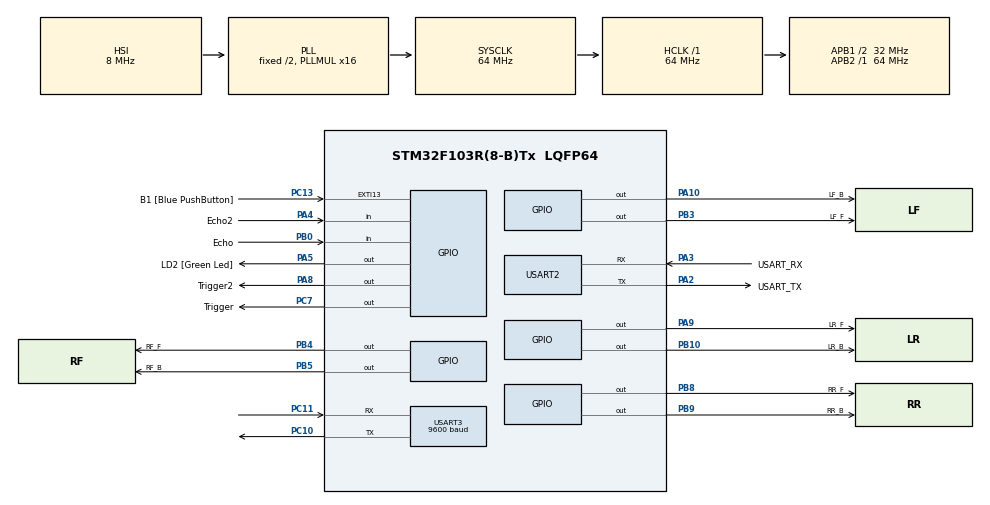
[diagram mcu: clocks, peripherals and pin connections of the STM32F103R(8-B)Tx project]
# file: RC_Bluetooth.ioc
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Mcu.Family=STM32F1
Mcu.Name=STM32F103R(8-B)Tx
Mcu.Package=LQFP64
NVIC.EXTI15_10_IRQn=true\:0\:0\:false\:false\:true\:true\:true\:true
NVIC.PriorityGroup=NVIC_PRIORITYGROUP_4
NVIC.USART2_IRQn=true\:0\:0\:false\:false\:true\:true\:true\:true
NVIC.USART3_IRQn=true\:0\:0\:false\:false\:true\:true\:true\:true
PA10.GPIO_Label=LF_B
PA10.Signal=GPIO_Output
PA13.GPIO_Label=TMS
PA13.Mode=Serial_Wire
PA13.Signal=SYS_JTMS-SWDIO
PA14.GPIO_Label=TCK
PA14.Mode=Serial_Wire
PA14.Signal=SYS_JTCK-SWCLK
PA2.GPIO_Label=USART_TX
PA2.GPIO_Mode=GPIO_MODE_AF_PP
PA2.GPIO_PuPd=GPIO_NOPULL
PA2.GPIO_Speed=GPIO_SPEED_FREQ_LOW
PA2.Mode=Asynchronous
PA2.Signal=USART2_TX
PA3.GPIO_Label=USART_RX
PA3.GPIO_Mode=GPIO_MODE_AF_PP
PA3.GPIO_PuPd=GPIO_NOPULL
PA3.GPIO_Speed=GPIO_SPEED_FREQ_LOW
PA3.Mode=Asynchronous
PA3.Signal=USART2_RX
PA4.GPIO_Label=Echo2
PA4.Signal=GPIO_Input
PA5.GPIO_Label=LD2 [Green Led]
PA5.GPIO_ModeDefaultOutputPP=GPIO_MODE_OUTPUT_PP
PA5.GPIO_PuPd=GPIO_NOPULL
PA5.GPIO_Speed=GPIO_SPEED_FREQ_LOW
PA5.Signal=GPIO_Output
PA8.GPIO_Label=Trigger2
PA8.Signal=GPIO_Output
PA9.GPIO_Label=LR_F
PA9.Signal=GPIO_Output
PB0.GPIO_Label=Echo
PB0.Signal=GPIO_Input
PB10.GPIO_Label=LR_B
PB10.Signal=GPIO_Output
PB3.GPIO_Label=LF_F
PB3.Signal=GPIO_Output
PB4.GPIO_Label=RF_F
PB4.Signal=GPIO_Output
PB5.GPIO_Label=RF_B
PB5.Signal=GPIO_Output
PB8.GPIO_Label=RR_F
PB8.Signal=GPIO_Output
PB9.GPIO_Label=RR_B
PB9.Signal=GPIO_Output
PC10.Mode=Asynchronous
PC10.Signal=USART3_TX
PC11.Mode=Asynchronous
PC11.Signal=USART3_RX
PC13-TAMPER-RTC.GPIO_Label=B1 [Blue PushButton]
PC13-TAMPER-RTC.GPIO_PuPd=GPIO_NOPULL
PC13-TAMPER-RTC.Signal=GPXTI13
PC14-OSC32_IN.Signal=RCC_OSC32_IN
PC15-OSC32_OUT.Signal=RCC_OSC32_OUT
PC7.GPIO_Label=Trigger
PC7.Signal=GPIO_Output
PD0-OSC_IN.Signal=RCC_OSC_IN
PD1-OSC_OUT.Signal=RCC_OSC_OUT
ProjectManager.HeapSize=0x200
ProjectManager.StackSize=0x400
ProjectManager.TargetToolchain=STM32CubeIDE
RCC.AHBFreq_Value=64000000
RCC.APB1CLKDivider=RCC_HCLK_DIV2
RCC.APB1Freq_Value=32000000
RCC.APB1TimFreq_Value=64000000
RCC.APB2Freq_Value=64000000
RCC.APB2TimFreq_Value=64000000
RCC.HCLKFreq_Value=64000000
RCC.PLLMUL=RCC_PLL_MUL16
RCC.RTCClockSelection=RCC_RTCCLKSOURCE_LSE
RCC.SYSCLKFreq_VALUE=64000000
RCC.SYSCLKSource=RCC_SYSCLKSOURCE_PLLCLK
RCC.USBFreq_Value=64000000
TIM1.Prescaler=64-1
TIM2.Prescaler=64-1
USART2.VirtualMode=VM_ASYNC
USART3.BaudRate=9600
USART3.VirtualMode=VM_ASYNC
VP_TIM1_VS_ClockSourceINT.Mode=Internal
VP_TIM2_VS_ClockSourceINT.Mode=Internal
board=NUCLEO-F103RB

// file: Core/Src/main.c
/* USER CODE BEGIN Header */
/**
 ******************************************************************************
 * @file           : main.c
 * @brief          : Main program body
 ******************************************************************************
 * @attention
 *
 * Copyright (c) 2025 STMicroelectronics.
 * All rights reserved.
 *
 * This software is licensed under terms that can be found in the LICENSE file
 * in the root directory of this software component.
 * If no LICENSE file comes with this software, it is provided AS-IS.
 *
 ******************************************************************************
 */
/* USER CODE END Header */
#include "main.h"

/* USER CODE BEGIN Includes */
#include <stdio.h>
#include <string.h>
#include <stdlib.h>

/* USER CODE END Includes */

/* USER CODE BEGIN PD */
#define MEDIAN_FILTER_SIZE 5
/* USER CODE END PD */

TIM_HandleTypeDef htim1;
TIM_HandleTypeDef htim2;

UART_HandleTypeDef huart2;
UART_HandleTypeDef huart3;

/* USER CODE BEGIN PV */

// --- 전역 변수: 인터럽트와 main 함수 간의 데이터 공유를 위해 사용 ---
uint8_t rx3_data; // huart3 (블루투스) 수신용 임시 1바이트 버퍼
uint8_t rx2_data; // huart2 (PC) 수신용 임시 1바이트 버퍼
volatile char g_rx3_command = 'p'; // 블루투스로부터 수신된 최종 명령을 저장. 'p'(stop)을 기본값으로 설정. volatile 키워드는 인터럽트에 의해 값이 언제든지 바뀔 수 있음을 컴파일러에게 알림.

// 초음파 센서 관련 변수
int right_history[MEDIAN_FILTER_SIZE];
int left_history[MEDIAN_FILTER_SIZE];
int history_index = 0;
volatile int g_final_dist_left = 9999;  // 필터링된 최종 왼쪽 거리 값
volatile int g_final_dist_right = 9999; // 필터링된 최종 오른쪽 거리 값

int HIGH = 1;
int LOW = 0;
/* USER CODE END PV */

void SystemClock_Config(void);
static void MX_GPIO_Init(void);
static void MX_USART2_UART_Init(void);
static void MX_TIM1_Init(void);
static void MX_TIM2_Init(void);
static void MX_USART3_UART_Init(void);

/* USER CODE BEGIN 0 */
#ifdef __GNUC__
#define PUTCHAR_PROTOTYPE int __io_putchar(int ch)
#else
#define PUTCHAR_PROT0TYPE int fputc(int ch, FILE *f)
#endif
PUTCHAR_PROTOTYPE {
	if (ch == '\n')
		HAL_UART_Transmit(&huart2, (uint8_t*) "\r", 1, 0xFFFF);
	HAL_UART_Transmit(&huart2, (uint8_t*) &ch, 1, 0xFFFF);

	return ch;
}

void smartcar_forward(){
	HAL_GPIO_WritePin(RR_F_GPIO_Port, RR_F_Pin, 1); // PB8  뒤앞   21 22  RR_F /Right_RearForward
	HAL_GPIO_WritePin(RR_B_GPIO_Port, RR_B_Pin, 0); // PB9  뒤백	RR_B Right_RearBack

	HAL_GPIO_WritePin(RF_F_GPIO_Port, RF_F_Pin, 1); // PB4 앞앞  17 16 RF_F
	HAL_GPIO_WritePin(RF_B_GPIO_Port, RF_B_Pin, 0); // PB5 앞백 RF_B

	HAL_GPIO_WritePin(LR_F_GPIO_Port, LR_F_Pin, 1); // PA9  뒤앞 LR_F 12  27 left_RearForward
	HAL_GPIO_WritePin(LR_B_GPIO_Port, LR_B_Pin, 0); // PB10 뒤백 LR_B left_RearBack

	HAL_GPIO_WritePin(LF_F_GPIO_Port, LF_F_Pin, 1); // 앞앞 PB3 25 26 LF_F left_ForwardForward
	HAL_GPIO_WritePin(LF_B_GPIO_Port, LF_B_Pin, 0); // 앞백 PA10 LF_B left_ForwardBack
}

void smartcar_back(){
	HAL_GPIO_WritePin(RR_F_GPIO_Port, RR_F_Pin, 0); // PB8  뒤앞   21 22  RR_F /Right_RearForward
	HAL_GPIO_WritePin(RR_B_GPIO_Port, RR_B_Pin, 1); // PB9  뒤백	RR_B Right_RearBack

	HAL_GPIO_WritePin(RF_F_GPIO_Port, RF_F_Pin, 0); // PB4 앞앞  17 16 RF_F
	HAL_GPIO_WritePin(RF_B_GPIO_Port, RF_B_Pin, 1); // PB5 앞백 RF_B

	HAL_GPIO_WritePin(LR_F_GPIO_Port, LR_F_Pin, 0); // PA9  뒤앞 LR_F 12  27 left_RearForward
	HAL_GPIO_WritePin(LR_B_GPIO_Port, LR_B_Pin, 1); // PB10 뒤백 LR_B left_RearBack

	HAL_GPIO_WritePin(LF_F_GPIO_Port, LF_F_Pin, 0); // 앞앞 PB3 25 26 LF_F left_ForwardForward
	HAL_GPIO_WritePin(LF_B_GPIO_Port, LF_B_Pin, 1); // 앞백 PA10 LF_B left_ForwardBack
}

void smartcar_left(){
	HAL_GPIO_WritePin(RR_F_GPIO_Port, RR_F_Pin, 1); // PB8  뒤앞   21 22  RR_F /Right_RearForward
	HAL_GPIO_WritePin(RR_B_GPIO_Port, RR_B_Pin, 0); // PB9  뒤백	RR_B Right_RearBack

	HAL_GPIO_WritePin(RF_F_GPIO_Port, RF_F_Pin, 1); // PB4 앞앞  17 16 RF_F
	HAL_GPIO_WritePin(RF_B_GPIO_Port, RF_B_Pin, 0); // PB5 앞백 RF_B

	HAL_GPIO_WritePin(LR_F_GPIO_Port, LR_F_Pin, 0); // PA9  뒤앞 LR_F 12  27 left_RearForward
	HAL_GPIO_WritePin(LR_B_GPIO_Port, LR_B_Pin, 1); // PB10 뒤백 LR_B left_RearBack

	HAL_GPIO_WritePin(LF_F_GPIO_Port, LF_F_Pin, 0); // 앞앞 PB3 25 26 LF_F left_ForwardForward
	HAL_GPIO_WritePin(LF_B_GPIO_Port, LF_B_Pin, 1); // 앞백 PA10 LF_B left_ForwardBack
}

void smartcar_right(){
	HAL_GPIO_WritePin(RR_F_GPIO_Port, RR_F_Pin, 0); // PB8  뒤앞   21 22  RR_F /Right_RearForward
	HAL_GPIO_WritePin(RR_B_GPIO_Port, RR_B_Pin, 1); // PB9  뒤백	RR_B Right_RearBack

	HAL_GPIO_WritePin(RF_F_GPIO_Port, RF_F_Pin, 0); // PB4 앞앞  17 16 RF_F
	HAL_GPIO_WritePin(RF_B_GPIO_Port, RF_B_Pin, 1); // PB5 앞백 RF_B

	HAL_GPIO_WritePin(LR_F_GPIO_Port, LR_F_Pin, 1); // PA9  뒤앞 LR_F 12  27 left_RearForward
	HAL_GPIO_WritePin(LR_B_GPIO_Port, LR_B_Pin, 0); // PB10 뒤백 LR_B left_RearBack

	HAL_GPIO_WritePin(LF_F_GPIO_Port, LF_F_Pin, 1); // 앞앞 PB3 25 26 LF_F left_ForwardForward
	HAL_GPIO_WritePin(LF_B_GPIO_Port, LF_B_Pin, 0); // 앞백 PA10 LF_B left_ForwardBack
}

void smartcar_stop(){
	HAL_GPIO_WritePin(RR_F_GPIO_Port, RR_F_Pin, 0); // PB8  뒤앞   21 22  RR_F /Right_RearForward
	HAL_GPIO_WritePin(RR_B_GPIO_Port, RR_B_Pin, 0); // PB9  뒤백	RR_B Right_RearBack

	HAL_GPIO_WritePin(RF_F_GPIO_Port, RF_F_Pin, 0); // PB4 앞앞  17 16 RF_F
	HAL_GPIO_WritePin(RF_B_GPIO_Port, RF_B_Pin, 0); // PB5 앞백 RF_B

	HAL_GPIO_WritePin(LR_F_GPIO_Port, LR_F_Pin, 0); // PA9  뒤앞 LR_F 12  27 left_RearForward
	HAL_GPIO_WritePin(LR_B_GPIO_Port, LR_B_Pin, 0); // PB10 뒤백 LR_B left_RearBack

	HAL_GPIO_WritePin(LF_F_GPIO_Port, LF_F_Pin, 0); // 앞앞 PB3 25 26 LF_F left_ForwardForward
	HAL_GPIO_WritePin(LF_B_GPIO_Port, LF_B_Pin, 0); // 앞백 PA10 LF_B left_ForwardBack
}

// --- 초음파 센서 관련 함수들 ---
void timer_start(TIM_HandleTypeDef *htim) { //초기화
	HAL_TIM_Base_Start(htim);
}

void delay_us(uint16_t us, TIM_HandleTypeDef *htim) { // us 딜레이
	__HAL_TIM_SET_COUNTER(htim, 0); // initislize counter to start from 0
	while ((__HAL_TIM_GET_COUNTER(htim)) < us)
		; // wait count until us
}

void trig(GPIO_TypeDef *GPIO_Port, uint16_t GPIO_Pin, TIM_HandleTypeDef *htim) { // 트리거
	HAL_GPIO_WritePin(GPIO_Port, GPIO_Pin, HIGH);

	delay_us(10, htim);
	HAL_GPIO_WritePin(GPIO_Port, GPIO_Pin, LOW);
}

long unsigned int echo(GPIO_TypeDef *GPIO_Port, uint16_t GPIO_Pin,
	TIM_HandleTypeDef *htim) { // 에코 (타임아웃 추가)
	long unsigned int echo = 0;
	uint32_t start_time;
	uint32_t timeout = 30000; // us, 최대 유효 측정시간보다 길게 설정

	start_time = __HAL_TIM_GET_COUNTER(htim);
	while (HAL_GPIO_ReadPin(GPIO_Port, GPIO_Pin) == LOW) {
		if (__HAL_TIM_GET_COUNTER(htim) - start_time > timeout) {
			return 0;
		}
	}
	__HAL_TIM_SET_COUNTER(htim, 0);
	while (HAL_GPIO_ReadPin(GPIO_Port, GPIO_Pin) == HIGH) {
		if (__HAL_TIM_GET_COUNTER(htim) > timeout) {
			return 0;
		}
	}
	echo = __HAL_TIM_GET_COUNTER(htim);
	if (echo >= 240 && echo <= 23000)
		return echo;
	else
		return 0;
}

// --- 미디안 필터 관련 함수들 ---
int compare_int(const void *a, const void *b) {
	return (*(int*) a - *(int*) b);
}

int get_median(int history[]) {
	int temp_history[MEDIAN_FILTER_SIZE];
	memcpy(temp_history, history, sizeof(temp_history));
	qsort(temp_history, MEDIAN_FILTER_SIZE, sizeof(int), compare_int);
	// [버그 수정] 배열의 크기로 나누는 것이 아니라, 중앙 인덱스의 값을 반환해야 합니다.
	return temp_history[MEDIAN_FILTER_SIZE / 2];
}

/**
 * @brief UART 수신 완료 콜백 함수 (역할: 우편 배달부)
 * @note  이 함수는 인터럽트에 의해 호출되므로, 최대한 짧고 빠르게 유지해야 합니다.
 *        복잡한 계산이나 지연(Delay)을 포함해서는 안 됩니다.
 */
void HAL_UART_RxCpltCallback(UART_HandleTypeDef *huart) {
  //2- 컴퓨터 - mcu  / recive - 컴퓨터 -> mcu / tran - mcu -> 컴퓨터
  //3 - mcu - 핸드폰 / recive - 핸드폰 -> mcu / tran - mcu -> 핸드폰

	// 블루투스(huart3)로부터 명령이 수신되면
	if (huart->Instance == USART3) {
		// 수신된 명령(rx3_data)을 전역 변수(g_rx3_command)에 저장만 하고 즉시 종료합니다.
		g_rx3_command = rx3_data;
		// 다음 1바이트 수신을 위해 인터럽트를 다시 활성화합니다.
		HAL_UART_Receive_IT(&huart3, &rx3_data, 1);

	} else if (huart->Instance == USART2) { // PC로부터 명령이 수신되면
		// PC에서 받은 데이터를 블루투스로 그대로 전달합니다 (에코백).
		HAL_UART_Transmit(&huart3, &rx2_data, 1, 10);
		// 다음 1바이트 수신을 위해 인터럽트를 다시 활성화합니다.
		HAL_UART_Receive_IT(&huart2, &rx2_data, 1);
	}
}

/* USER CODE END 0 */

int main(void)
{

  /* MCU Configuration--------------------------------------------------------*/

  /* Reset of all peripherals, Initializes the Flash interface and the Systick. */
  HAL_Init();

  /* Configure the system clock */
  SystemClock_Config();

  /* Initialize all configured peripherals */
  MX_GPIO_Init();
  MX_USART2_UART_Init();
  MX_TIM1_Init();
  MX_TIM2_Init();
  MX_USART3_UART_Init();
  /* USER CODE BEGIN 2 */

  // 양쪽 UART 채널에 대해 1바이트 수신 인터럽트를 최초로 활성화합니다.
	HAL_UART_Receive_IT(&huart3, &rx3_data, 1);
	HAL_UART_Receive_IT(&huart2, &rx2_data, 1);

   // 초음파 센서용 타이머를 시작합니다.
	timer_start(&htim1);
	timer_start(&htim2);;

	uint32_t last_sensor_read_time = 0;
  /* USER CODE END 2 */

  /* Infinite loop */
  /* USER CODE BEGIN WHILE */

	/**
	   * @brief 메인 루프 (역할: 사령관)
	   * @note  이 루프는 모든 결정을 내리는 최종 책임자입니다.
	   *        주기적으로 센서 상태를 읽고, 실시간으로 들어온 명령을 확인하여
	   *        모든 상황을 종합해 최종적으로 모터를 제어합니다.
	   */
	while (1) {
		// --- 1. 센서 측정 (주기적으로 실행) ---
				if (HAL_GetTick() - last_sensor_read_time > 100) { // 100ms 마다 센서 확인
					last_sensor_read_time = HAL_GetTick();

					long unsigned int echo_time_right = echo(Echo_GPIO_Port, Echo_Pin, &htim1);
					long unsigned int echo_time_left = echo(Echo2_GPIO_Port, Echo2_Pin, &htim2);

					int dist_right = 9999;
					int dist_left = 9999;

					if (echo_time_right > 0) {
						dist_right = (int) (17 * echo_time_right / 100);
					}
					if (echo_time_left > 0) {
						dist_left = (int) (17 * echo_time_left / 100);
					}

					// 필터 기록용 배열에 현재 거리 값을 추가합니다.
					right_history[history_index] = dist_right;
					left_history[history_index] = dist_left;
					history_index = (history_index + 1) % MEDIAN_FILTER_SIZE; // 인덱스를 순환시킵니다.

					// 필터링된 최종 거리값을 전역 변수에 업데이트하여 while 루프의 다른 부분에서 사용하게 합니다.
					g_final_dist_right = get_median(right_history);
					g_final_dist_left = get_median(left_history);

					// PC 터미널로 현재 거리 값을 출력합니다.
					printf("Left: %d mm, Right: %d mm\r\n", g_final_dist_left, g_final_dist_right);
				}

				// --- 2. 모터 제어 결정 (매 루프마다 항상 실행) ---
				int obstacle_detected = (g_final_dist_left < 200 || g_final_dist_right < 200);

				// 인터럽트가 업데이트한 최신 명령(g_rx3_command)을 확인합니다.
				if (g_rx3_command == 'w' && !obstacle_detected) {
					smartcar_forward();
				} else if (g_rx3_command == 's') {
					smartcar_back();
				} else if (g_rx3_command == 'a') {
					smartcar_left();
				} else if (g_rx3_command == 'd') {
					smartcar_right();
				} else { // 'p'(stop) 명령을 받았거나, 전진 중 장애물이 감지된 경우
					smartcar_stop();
				}

				// 전체 루프가 너무 빨리 돌지 않도록 하여 CPU 점유율을 낮춥니다.
				HAL_Delay(20);
			}

    /* USER CODE END WHILE */

}

void SystemClock_Config(void)
{
  RCC_OscInitTypeDef RCC_OscInitStruct = {0};
  RCC_ClkInitTypeDef RCC_ClkInitStruct = {0};

  /** Initializes the RCC Oscillators according to the specified parameters
  * in the RCC_OscInitTypeDef structure.
  */
  RCC_OscInitStruct.OscillatorType = RCC_OSCILLATORTYPE_HSI;
  RCC_OscInitStruct.HSIState = RCC_HSI_ON;
  RCC_OscInitStruct.HSICalibrationValue = RCC_HSICALIBRATION_DEFAULT;
  RCC_OscInitStruct.PLL.PLLState = RCC_PLL_ON;
  RCC_OscInitStruct.PLL.PLLSource = RCC_PLLSOURCE_HSI_DIV2;
  RCC_OscInitStruct.PLL.PLLMUL = RCC_PLL_MUL16;
  if (HAL_RCC_OscConfig(&RCC_OscInitStruct) != HAL_OK)
  {
    Error_Handler();
  }

  /** Initializes the CPU, AHB and APB buses clocks
  */
  RCC_ClkInitStruct.ClockType = RCC_CLOCKTYPE_HCLK|RCC_CLOCKTYPE_SYSCLK
                              |RCC_CLOCKTYPE_PCLK1|RCC_CLOCKTYPE_PCLK2;
  RCC_ClkInitStruct.SYSCLKSource = RCC_SYSCLKSOURCE_PLLCLK;
  RCC_ClkInitStruct.AHBCLKDivider = RCC_SYSCLK_DIV1;
  RCC_ClkInitStruct.APB1CLKDivider = RCC_HCLK_DIV2;
  RCC_ClkInitStruct.APB2CLKDivider = RCC_HCLK_DIV1;

  if (HAL_RCC_ClockConfig(&RCC_ClkInitStruct, FLASH_LATENCY_2) != HAL_OK)
  {
    Error_Handler();
  }
}

static void MX_TIM1_Init(void)
{

  TIM_ClockConfigTypeDef sClockSourceConfig = {0};
  TIM_MasterConfigTypeDef sMasterConfig = {0};

  htim1.Instance = TIM1;
  htim1.Init.Prescaler = 64-1;
  htim1.Init.CounterMode = TIM_COUNTERMODE_UP;
  htim1.Init.Period = 65535;
  htim1.Init.ClockDivision = TIM_CLOCKDIVISION_DIV1;
  htim1.Init.RepetitionCounter = 0;
  htim1.Init.AutoReloadPreload = TIM_AUTORELOAD_PRELOAD_DISABLE;
  if (HAL_TIM_Base_Init(&htim1) != HAL_OK)
  {
    Error_Handler();
  }
  sClockSourceConfig.ClockSource = TIM_CLOCKSOURCE_INTERNAL;
  if (HAL_TIM_ConfigClockSource(&htim1, &sClockSourceConfig) != HAL_OK)
  {
    Error_Handler();
  }
  sMasterConfig.MasterOutputTrigger = TIM_TRGO_RESET;
  sMasterConfig.MasterSlaveMode = TIM_MASTERSLAVEMODE_DISABLE;
  if (HAL_TIMEx_MasterConfigSynchronization(&htim1, &sMasterConfig) != HAL_OK)
  {
    Error_Handler();
  }

}

static void MX_TIM2_Init(void)
{

  TIM_ClockConfigTypeDef sClockSourceConfig = {0};
  TIM_MasterConfigTypeDef sMasterConfig = {0};

  htim2.Instance = TIM2;
  htim2.Init.Prescaler = 64-1;
  htim2.Init.CounterMode = TIM_COUNTERMODE_UP;
  htim2.Init.Period = 65535;
  htim2.Init.ClockDivision = TIM_CLOCKDIVISION_DIV1;
  htim2.Init.AutoReloadPreload = TIM_AUTORELOAD_PRELOAD_DISABLE;
  if (HAL_TIM_Base_Init(&htim2) != HAL_OK)
  {
    Error_Handler();
  }
  sClockSourceConfig.ClockSource = TIM_CLOCKSOURCE_INTERNAL;
  if (HAL_TIM_ConfigClockSource(&htim2, &sClockSourceConfig) != HAL_OK)
  {
    Error_Handler();
  }
  sMasterConfig.MasterOutputTrigger = TIM_TRGO_RESET;
  sMasterConfig.MasterSlaveMode = TIM_MASTERSLAVEMODE_DISABLE;
  if (HAL_TIMEx_MasterConfigSynchronization(&htim2, &sMasterConfig) != HAL_OK)
  {
    Error_Handler();
  }

}

static void MX_USART2_UART_Init(void)
{

  huart2.Instance = USART2;
  huart2.Init.BaudRate = 115200;
  huart2.Init.WordLength = UART_WORDLENGTH_8B;
  huart2.Init.StopBits = UART_STOPBITS_1;
  huart2.Init.Parity = UART_PARITY_NONE;
  huart2.Init.Mode = UART_MODE_TX_RX;
  huart2.Init.HwFlowCtl = UART_HWCONTROL_NONE;
  huart2.Init.OverSampling = UART_OVERSAMPLING_16;
  if (HAL_UART_Init(&huart2) != HAL_OK)
  {
    Error_Handler();
  }

}

static void MX_USART3_UART_Init(void)
{

  huart3.Instance = USART3;
  huart3.Init.BaudRate = 9600;
  huart3.Init.WordLength = UART_WORDLENGTH_8B;
  huart3.Init.StopBits = UART_STOPBITS_1;
  huart3.Init.Parity = UART_PARITY_NONE;
  huart3.Init.Mode = UART_MODE_TX_RX;
  huart3.Init.HwFlowCtl = UART_HWCONTROL_NONE;
  huart3.Init.OverSampling = UART_OVERSAMPLING_16;
  if (HAL_UART_Init(&huart3) != HAL_OK)
  {
    Error_Handler();
  }

}

static void MX_GPIO_Init(void)
{
  GPIO_InitTypeDef GPIO_InitStruct = {0};

  /* GPIO Ports Clock Enable */
  __HAL_RCC_GPIOC_CLK_ENABLE();
  __HAL_RCC_GPIOD_CLK_ENABLE();
  __HAL_RCC_GPIOA_CLK_ENABLE();
  __HAL_RCC_GPIOB_CLK_ENABLE();

  /*Configure GPIO pin Output Level */
  HAL_GPIO_WritePin(GPIOA, LD2_Pin|Trigger2_Pin|LR_F_Pin|LF_B_Pin, GPIO_PIN_RESET);

  /*Configure GPIO pin Output Level */
  HAL_GPIO_WritePin(GPIOB, LR_B_Pin|LF_F_Pin|RF_F_Pin|RF_B_Pin
                          |RR_F_Pin|RR_B_Pin, GPIO_PIN_RESET);

  /*Configure GPIO pin Output Level */
  HAL_GPIO_WritePin(Trigger_GPIO_Port, Trigger_Pin, GPIO_PIN_RESET);

  /*Configure GPIO pin : B1_Pin */
  GPIO_InitStruct.Pin = B1_Pin;
  GPIO_InitStruct.Mode = GPIO_MODE_IT_RISING;
  GPIO_InitStruct.Pull = GPIO_NOPULL;
  HAL_GPIO_Init(B1_GPIO_Port, &GPIO_InitStruct);

  /*Configure GPIO pin : Echo2_Pin */
  GPIO_InitStruct.Pin = Echo2_Pin;
  GPIO_InitStruct.Mode = GPIO_MODE_INPUT;
  GPIO_InitStruct.Pull = GPIO_NOPULL;
  HAL_GPIO_Init(Echo2_GPIO_Port, &GPIO_InitStruct);

  /*Configure GPIO pins : LD2_Pin Trigger2_Pin LR_F_Pin LF_B_Pin */
  GPIO_InitStruct.Pin = LD2_Pin|Trigger2_Pin|LR_F_Pin|LF_B_Pin;
  GPIO_InitStruct.Mode = GPIO_MODE_OUTPUT_PP;
  GPIO_InitStruct.Pull = GPIO_NOPULL;
  GPIO_InitStruct.Speed = GPIO_SPEED_FREQ_LOW;
  HAL_GPIO_Init(GPIOA, &GPIO_InitStruct);

  /*Configure GPIO pin : Echo_Pin */
  GPIO_InitStruct.Pin = Echo_Pin;
  GPIO_InitStruct.Mode = GPIO_MODE_INPUT;
  GPIO_InitStruct.Pull = GPIO_NOPULL;
  HAL_GPIO_Init(Echo_GPIO_Port, &GPIO_InitStruct);

  /*Configure GPIO pins : LR_B_Pin LF_F_Pin RF_F_Pin RF_B_Pin
                           RR_F_Pin RR_B_Pin */
  GPIO_InitStruct.Pin = LR_B_Pin|LF_F_Pin|RF_F_Pin|RF_B_Pin
                          |RR_F_Pin|RR_B_Pin;
  GPIO_InitStruct.Mode = GPIO_MODE_OUTPUT_PP;
  GPIO_InitStruct.Pull = GPIO_NOPULL;
  GPIO_InitStruct.Speed = GPIO_SPEED_FREQ_LOW;
  HAL_GPIO_Init(GPIOB, &GPIO_InitStruct);

  /*Configure GPIO pin : Trigger_Pin */
  GPIO_InitStruct.Pin = Trigger_Pin;
  GPIO_InitStruct.Mode = GPIO_MODE_OUTPUT_PP;
  GPIO_InitStruct.Pull = GPIO_NOPULL;
  GPIO_InitStruct.Speed = GPIO_SPEED_FREQ_LOW;
  HAL_GPIO_Init(Trigger_GPIO_Port, &GPIO_InitStruct);

  /* EXTI interrupt init*/
  HAL_NVIC_SetPriority(EXTI15_10_IRQn, 0, 0);
  HAL_NVIC_EnableIRQ(EXTI15_10_IRQn);

}

/* USER CODE BEGIN 4 */
//void HAL_UART_RxCpltCallback(UART_HandleTypeDef *huart) {
//	//2- 컴퓨터 - mcu   recive - 컴퓨터 -> mcu / tran - mcu -> 컴퓨터
//	//3 - mcu - 핸드폰 / recive - 핸드폰 -> mcu / tran - mcu -> 핸드폰
//
//	if (huart->Instance == USART3) {
//
////		HAL_UART_Transmit(&huart2, &rx3_data, sizeof(rx3_data), 10);
////		HAL_UART_Receive_IT(&huart3, &rx3_data, sizeof(rx3_data));
//		new_data_flag = 1;              // 새 데이터가 있다고 플래그 설정
//		last_rx_time = HAL_GetTick();
//
//		HAL_UART_Transmit(&huart2, &rx3_data, 1, 10);
//		HAL_UART_Receive_IT(&huart3, &rx3_data, 1);
//
//	} else if (huart->Instance == USART2) {
//
////		HAL_UART_Transmit(&huart3, &rx2_data, sizeof(rx2_data), 10);
////		HAL_UART_Receive_IT(&huart2, &rx2_data, sizeof(rx2_data));
//
//
//		new_data_flag = 1;              // 새 데이터가 있다고 플래그 설정
//		last_rx_time = HAL_GetTick();
//		HAL_UART_Transmit(&huart3, &rx2_data, 1, 10);
//		HAL_UART_Receive_IT(&huart2, &rx2_data, 1);
//
//	}
//}
/* USER CODE END 4 */

void Error_Handler(void)
{
	__disable_irq();
	while (1) {
	}
}
